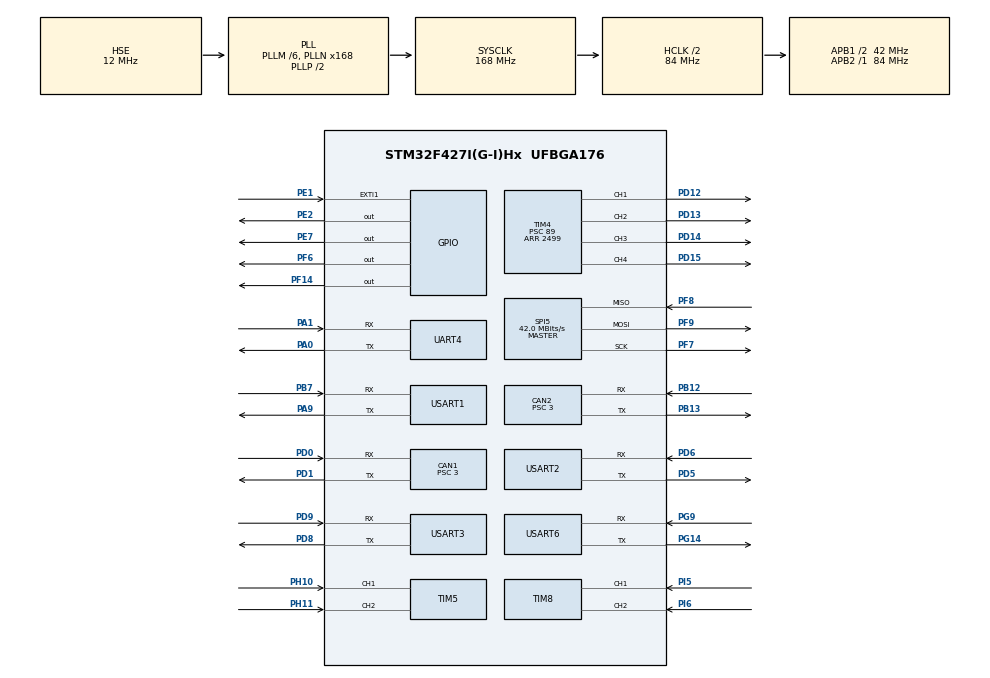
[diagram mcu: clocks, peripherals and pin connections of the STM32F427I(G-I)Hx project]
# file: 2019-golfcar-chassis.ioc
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CAN1.ABOM=DISABLE
CAN1.AWUM=ENABLE
CAN1.BS1=CAN_BS1_9TQ
CAN1.BS2=CAN_BS2_4TQ
CAN1.CalculateTimeQuantum=71.42857142857143
CAN1.Mode=CAN_MODE_NORMAL
CAN1.Prescaler=3
CAN1.TTCM=ENABLE
CAN1.TXFP=ENABLE
CAN2.ABOM=DISABLE
CAN2.AWUM=ENABLE
CAN2.BS1=CAN_BS1_9TQ
CAN2.BS2=CAN_BS2_4TQ
CAN2.CalculateTimeQuantum=71.42857142857143
CAN2.Mode=CAN_MODE_NORMAL
CAN2.Prescaler=3
CAN2.SJW=CAN_SJW_1TQ
CAN2.TTCM=ENABLE
CAN2.TXFP=ENABLE
Dma.Request0=USART2_RX
Dma.Request1=USART2_TX
Dma.Request2=USART1_TX
Dma.Request3=USART6_RX
Dma.Request4=USART6_TX
Dma.Request5=UART4_RX
Dma.Request6=UART4_TX
Dma.UART4_RX.5.Direction=DMA_PERIPH_TO_MEMORY
Dma.UART4_RX.5.FIFOMode=DMA_FIFOMODE_DISABLE
Dma.UART4_RX.5.Instance=DMA1_Stream2
Dma.UART4_RX.5.MemDataAlignment=DMA_MDATAALIGN_BYTE
Dma.UART4_RX.5.MemInc=DMA_MINC_ENABLE
Dma.UART4_RX.5.Mode=DMA_NORMAL
Dma.UART4_RX.5.PeriphDataAlignment=DMA_PDATAALIGN_BYTE
Dma.UART4_RX.5.PeriphInc=DMA_PINC_DISABLE
Dma.UART4_RX.5.Priority=DMA_PRIORITY_LOW
Dma.UART4_TX.6.Direction=DMA_MEMORY_TO_PERIPH
Dma.UART4_TX.6.FIFOMode=DMA_FIFOMODE_DISABLE
Dma.UART4_TX.6.Instance=DMA1_Stream4
Dma.UART4_TX.6.MemDataAlignment=DMA_MDATAALIGN_BYTE
Dma.UART4_TX.6.MemInc=DMA_MINC_ENABLE
Dma.UART4_TX.6.Mode=DMA_NORMAL
Dma.UART4_TX.6.PeriphDataAlignment=DMA_PDATAALIGN_BYTE
Dma.UART4_TX.6.PeriphInc=DMA_PINC_DISABLE
Dma.UART4_TX.6.Priority=DMA_PRIORITY_LOW
Dma.USART1_TX.2.Direction=DMA_MEMORY_TO_PERIPH
Dma.USART1_TX.2.FIFOMode=DMA_FIFOMODE_DISABLE
Dma.USART1_TX.2.Instance=DMA2_Stream7
Dma.USART1_TX.2.MemDataAlignment=DMA_MDATAALIGN_BYTE
Dma.USART1_TX.2.MemInc=DMA_MINC_ENABLE
Dma.USART1_TX.2.Mode=DMA_NORMAL
Dma.USART1_TX.2.PeriphDataAlignment=DMA_PDATAALIGN_BYTE
Dma.USART1_TX.2.PeriphInc=DMA_PINC_DISABLE
Dma.USART1_TX.2.Priority=DMA_PRIORITY_LOW
Dma.USART2_RX.0.Direction=DMA_PERIPH_TO_MEMORY
Dma.USART2_RX.0.FIFOMode=DMA_FIFOMODE_DISABLE
Dma.USART2_RX.0.Instance=DMA1_Stream5
Dma.USART2_RX.0.MemDataAlignment=DMA_MDATAALIGN_BYTE
Dma.USART2_RX.0.MemInc=DMA_MINC_ENABLE
Dma.USART2_RX.0.Mode=DMA_NORMAL
Dma.USART2_RX.0.PeriphDataAlignment=DMA_PDATAALIGN_BYTE
Dma.USART2_RX.0.PeriphInc=DMA_PINC_DISABLE
Dma.USART2_RX.0.Priority=DMA_PRIORITY_HIGH
Dma.USART2_TX.1.Direction=DMA_MEMORY_TO_PERIPH
Dma.USART2_TX.1.FIFOMode=DMA_FIFOMODE_DISABLE
Dma.USART2_TX.1.Instance=DMA1_Stream6
Dma.USART2_TX.1.MemDataAlignment=DMA_MDATAALIGN_BYTE
Dma.USART2_TX.1.MemInc=DMA_MINC_ENABLE
Dma.USART2_TX.1.Mode=DMA_NORMAL
Dma.USART2_TX.1.PeriphDataAlignment=DMA_PDATAALIGN_BYTE
Dma.USART2_TX.1.PeriphInc=DMA_PINC_DISABLE
Dma.USART2_TX.1.Priority=DMA_PRIORITY_HIGH
Dma.USART6_RX.3.Direction=DMA_PERIPH_TO_MEMORY
Dma.USART6_RX.3.FIFOMode=DMA_FIFOMODE_DISABLE
Dma.USART6_RX.3.Instance=DMA2_Stream1
Dma.USART6_RX.3.MemDataAlignment=DMA_MDATAALIGN_BYTE
Dma.USART6_RX.3.MemInc=DMA_MINC_ENABLE
Dma.USART6_RX.3.Mode=DMA_NORMAL
Dma.USART6_RX.3.PeriphDataAlignment=DMA_PDATAALIGN_BYTE
Dma.USART6_RX.3.PeriphInc=DMA_PINC_DISABLE
Dma.USART6_RX.3.Priority=DMA_PRIORITY_LOW
Dma.USART6_TX.4.Direction=DMA_MEMORY_TO_PERIPH
Dma.USART6_TX.4.FIFOMode=DMA_FIFOMODE_DISABLE
Dma.USART6_TX.4.Instance=DMA2_Stream6
Dma.USART6_TX.4.MemDataAlignment=DMA_MDATAALIGN_BYTE
Dma.USART6_TX.4.MemInc=DMA_MINC_ENABLE
Dma.USART6_TX.4.Mode=DMA_NORMAL
Dma.USART6_TX.4.PeriphDataAlignment=DMA_PDATAALIGN_BYTE
Dma.USART6_TX.4.PeriphInc=DMA_PINC_DISABLE
Dma.USART6_TX.4.Priority=DMA_PRIORITY_LOW
FREERTOS.Tasks01=defaultTask,0,128,StartDefaultTask,Default,NULL,Dynamic,NULL,NULL;myTask02,3,256,StartTask02,As weak,NULL,Dynamic,NULL,NULL;myTask03,2,256,StartTask03,As weak,NULL,Dynamic,NULL,NULL;myTask04,1,256,StartTask04,As weak,NULL,Dynamic,NULL,NULL;myTask05,0,256,StartTask05,As weak,NULL,Dynamic,NULL,NULL;myTask06,-1,256,StartTask06,As weak,NULL,Dynamic,NULL,NULL;myTask07,-2,256,StartTask07,As weak,NULL,Dynamic,NULL,NULL
Mcu.Family=STM32F4
Mcu.Name=STM32F427I(G-I)Hx
Mcu.Package=UFBGA176
NVIC.CAN1_RX0_IRQn=true\:6\:0\:true\:false\:true\:true\:true\:true
NVIC.CAN1_TX_IRQn=true\:6\:0\:true\:false\:true\:true\:true\:true
NVIC.CAN2_RX0_IRQn=true\:7\:0\:true\:false\:true\:true\:true\:true
NVIC.CAN2_TX_IRQn=true\:7\:0\:true\:false\:true\:true\:true\:true
NVIC.DMA1_Stream2_IRQn=true\:5\:0\:false\:false\:true\:true\:false\:true
NVIC.DMA1_Stream4_IRQn=true\:5\:0\:false\:false\:true\:true\:false\:true
NVIC.DMA1_Stream5_IRQn=true\:5\:0\:false\:false\:true\:true\:false\:true
NVIC.DMA1_Stream6_IRQn=true\:5\:0\:false\:false\:true\:true\:false\:true
NVIC.DMA2_Stream1_IRQn=true\:5\:0\:false\:false\:true\:true\:false\:true
NVIC.DMA2_Stream6_IRQn=true\:5\:0\:false\:false\:true\:true\:false\:true
NVIC.DMA2_Stream7_IRQn=true\:6\:0\:true\:false\:true\:true\:false\:true
NVIC.PriorityGroup=NVIC_PRIORITYGROUP_4
NVIC.TIM4_IRQn=true\:6\:0\:true\:false\:true\:true\:true\:true
NVIC.TIM5_IRQn=true\:5\:0\:false\:false\:true\:true\:true\:true
NVIC.TIM8_BRK_TIM12_IRQn=true\:5\:0\:false\:false\:true\:true\:true\:true
NVIC.TIM8_CC_IRQn=true\:5\:0\:false\:false\:true\:true\:true\:true
NVIC.TIM8_TRG_COM_TIM14_IRQn=true\:5\:0\:false\:false\:true\:true\:true\:true
NVIC.TIM8_UP_TIM13_IRQn=true\:5\:0\:false\:false\:true\:true\:true\:true
NVIC.UART4_IRQn=true\:5\:0\:false\:false\:true\:true\:true\:true
NVIC.USART1_IRQn=true\:6\:0\:true\:false\:true\:true\:true\:true
NVIC.USART2_IRQn=true\:6\:0\:true\:false\:true\:true\:true\:true
NVIC.USART3_IRQn=true\:5\:0\:false\:false\:true\:true\:true\:true
NVIC.USART6_IRQn=true\:6\:0\:true\:false\:true\:true\:true\:true
PA0/WKUP.Mode=Asynchronous
PA0/WKUP.Signal=UART4_TX
PA1.Mode=Asynchronous
PA1.Signal=UART4_RX
PA13.Mode=Serial_Wire
PA13.Signal=SYS_JTMS-SWDIO
PA14.Mode=Serial_Wire
PA14.Signal=SYS_JTCK-SWCLK
PA9.Mode=Asynchronous
PA9.Signal=USART1_TX
PB12.Mode=Slave
PB12.Signal=CAN2_RX
PB13.Mode=Slave
PB13.Signal=CAN2_TX
PB7.Mode=Asynchronous
PB7.Signal=USART1_RX
PD0.Mode=Master
PD0.Signal=CAN1_RX
PD1.Mode=Master
PD1.Signal=CAN1_TX
PD12.Signal=S_TIM4_CH1
PD13.Signal=S_TIM4_CH2
PD14.Signal=S_TIM4_CH3
PD15.Signal=S_TIM4_CH4
PD5.Mode=Asynchronous
PD5.Signal=USART2_TX
PD6.Mode=Asynchronous
PD6.Signal=USART2_RX
PD8.Mode=Asynchronous
PD8.Signal=USART3_TX
PD9.Mode=Asynchronous
PD9.Signal=USART3_RX
PE1.Signal=GPXTI1
PE2.Signal=GPIO_Output
PE7.GPIO_ModeDefaultOutputPP=GPIO_MODE_OUTPUT_PP
PE7.Signal=GPIO_Output
PF14.Signal=GPIO_Output
PF6.Signal=GPIO_Output
PF7.Mode=Full_Duplex_Master
PF7.Signal=SPI5_SCK
PF8.Mode=Full_Duplex_Master
PF8.Signal=SPI5_MISO
PF9.Mode=Full_Duplex_Master
PF9.Signal=SPI5_MOSI
PG14.Mode=Asynchronous
PG14.Signal=USART6_TX
PG9.Mode=Asynchronous
PG9.Signal=USART6_RX
PH0/OSC_IN.Mode=HSE-External-Oscillator
PH0/OSC_IN.Signal=RCC_OSC_IN
PH1/OSC_OUT.Mode=HSE-External-Oscillator
PH1/OSC_OUT.Signal=RCC_OSC_OUT
PH10.Signal=S_TIM5_CH1
PH11.Signal=S_TIM5_CH2
PI5.Signal=S_TIM8_CH1
PI6.Signal=S_TIM8_CH2
ProjectManager.HeapSize=0x200
ProjectManager.StackSize=0x400
ProjectManager.TargetToolchain=MDK-ARM V5
RCC.48MHZClocksFreq_Value=84000000
RCC.AHBCLKDivider=RCC_SYSCLK_DIV2
RCC.AHBFreq_Value=84000000
RCC.APB1CLKDivider=RCC_HCLK_DIV2
RCC.APB1Freq_Value=42000000
RCC.APB1TimFreq_Value=84000000
RCC.APB2Freq_Value=84000000
RCC.APB2TimFreq_Value=84000000
RCC.CortexFreq_Value=84000000
RCC.HCLKFreq_Value=84000000
RCC.HSE_VALUE=12000000
RCC.HSI_VALUE=16000000
RCC.LSE_VALUE=32768
RCC.PLLM=6
RCC.PLLN=168
RCC.PLLSourceVirtual=RCC_PLLSOURCE_HSE
RCC.SYSCLKFreq_VALUE=168000000
RCC.SYSCLKSource=RCC_SYSCLKSOURCE_PLLCLK
RCC.VCOOutputFreq_Value=336000000
SH.S_TIM4_CH1.0=TIM4_CH1,PWM Generation1 CH1
SH.S_TIM4_CH2.0=TIM4_CH2,PWM Generation2 CH2
SH.S_TIM4_CH3.0=TIM4_CH3,PWM Generation3 CH3
SH.S_TIM4_CH4.0=TIM4_CH4,PWM Generation4 CH4
SH.S_TIM5_CH1.0=TIM5_CH1,Encoder_Interface
SH.S_TIM5_CH2.0=TIM5_CH2,Encoder_Interface
SH.S_TIM8_CH1.0=TIM8_CH1,Encoder_Interface
SH.S_TIM8_CH2.0=TIM8_CH2,Encoder_Interface
SPI5.CalculateBaudRate=42.0 MBits/s
SPI5.Direction=SPI_DIRECTION_2LINES
SPI5.Mode=SPI_MODE_MASTER
SPI5.VirtualType=VM_MASTER
TIM4.Channel-PWM\ Generation1\ CH1=TIM_CHANNEL_1
TIM4.Channel-PWM\ Generation2\ CH2=TIM_CHANNEL_2
TIM4.Channel-PWM\ Generation3\ CH3=TIM_CHANNEL_3
TIM4.Channel-PWM\ Generation4\ CH4=TIM_CHANNEL_4
TIM4.Period=2499
TIM4.Prescaler=89
TIM4.Pulse-PWM\ Generation1\ CH1=1000
TIM4.Pulse-PWM\ Generation2\ CH2=1000
TIM4.Pulse-PWM\ Generation3\ CH3=1000
TIM4.Pulse-PWM\ Generation4\ CH4=1000
UART4.VirtualMode=Asynchronous
USART1.VirtualMode=VM_ASYNC
USART2.VirtualMode=VM_ASYNC
USART3.VirtualMode=VM_ASYNC
USART6.VirtualMode=VM_ASYNC
VP_FREERTOS_VS_CMSIS_V1.Mode=CMSIS_V1
VP_SYS_VS_tim6.Mode=TIM6
board=custom

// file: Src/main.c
/* USER CODE BEGIN Header */
/**
  ******************************************************************************
  * @file           : main.c
  * @brief          : Main program body
  ******************************************************************************
  * @attention
  *
  * <h2><center>&copy; Copyright (c) 2019 STMicroelectronics.
  * All rights reserved.</center></h2>
  *
  * This software component is licensed by ST under Ultimate Liberty license
  * SLA0044, the "License"; You may not use this file except in compliance with
  * the License. You may obtain a copy of the License at:
  *                             www.st.com/SLA0044
  *
  ******************************************************************************
  */
/* USER CODE END Header */

#include "main.h"
#include "cmsis_os.h"
#include "can.h"
#include "dma.h"
#include "spi.h"
#include "tim.h"
#include "usart.h"
#include "gpio.h"

/* USER CODE BEGIN Includes */
#include "drv_uart.h"
#include "drv_can.h"
#include "drv_io.h"
#include "drv_robotservo.h"
#include "drv_timer.h"
#include "drv_io.h"
#include "drv_imu.h"
/* USER CODE END Includes */

/* USER CODE BEGIN PTD */
extern DMA_HandleTypeDef hdma_usart2_rx;
extern DMA_HandleTypeDef hdma_usart6_rx;
extern DMA_HandleTypeDef hdma_uart4_rx;
/* USER CODE END PTD */

void SystemClock_Config(void);
void MX_FREERTOS_Init(void);

int main(void)
{

  /* MCU Configuration--------------------------------------------------------*/

  /* Reset of all peripherals, Initializes the Flash interface and the Systick. */
  HAL_Init();

  /* Configure the system clock */
  SystemClock_Config();

  /* Initialize all configured peripherals */
  MX_GPIO_Init();
  MX_DMA_Init();
  MX_CAN1_Init();
  MX_CAN2_Init();
  MX_TIM4_Init();
  MX_TIM5_Init();
  MX_TIM8_Init();
  MX_USART2_UART_Init();
  MX_USART3_UART_Init();
  MX_USART6_UART_Init();
  MX_USART1_UART_Init();
  MX_UART4_Init();
  MX_SPI5_Init();
  /* USER CODE BEGIN 2 */
	USART_Enable(&huart1,Usart1buff);
	USART_DMA_Enable(&huart2,&hdma_usart2_rx,Usart2buff,11);
	USART_Enable(&huart3,Usart3buff);
	USART_DMA_Enable(&huart4,&hdma_uart4_rx,Uart4buff,8);
	USART_DMA_Enable(&huart6,&hdma_usart6_rx,Usart6buff,28);
	CAN_Enable(&hcan1);
	CAN_Enable(&hcan2);
	PWM_Init(&htim4,TIM_CHANNEL_1);
	PWM_Init(&htim4,TIM_CHANNEL_2);
	mpu_device_init();
  /* USER CODE END 2 */

  /* Call init function for freertos objects (in freertos.c) */
  MX_FREERTOS_Init();

  /* Start scheduler */
  osKernelStart();

  /* We should never get here as control is now taken by the scheduler */

  /* Infinite loop */
  while (1)
  {

  }
}

void SystemClock_Config(void)
{
  RCC_OscInitTypeDef RCC_OscInitStruct = {0};
  RCC_ClkInitTypeDef RCC_ClkInitStruct = {0};

  /** Configure the main internal regulator output voltage
  */
  __HAL_RCC_PWR_CLK_ENABLE();
  __HAL_PWR_VOLTAGESCALING_CONFIG(PWR_REGULATOR_VOLTAGE_SCALE3);
  /** Initializes the CPU, AHB and APB busses clocks
  */
  RCC_OscInitStruct.OscillatorType = RCC_OSCILLATORTYPE_HSE;
  RCC_OscInitStruct.HSEState = RCC_HSE_ON;
  RCC_OscInitStruct.PLL.PLLState = RCC_PLL_ON;
  RCC_OscInitStruct.PLL.PLLSource = RCC_PLLSOURCE_HSE;
  RCC_OscInitStruct.PLL.PLLM = 6;
  RCC_OscInitStruct.PLL.PLLN = 168;
  RCC_OscInitStruct.PLL.PLLP = RCC_PLLP_DIV2;
  RCC_OscInitStruct.PLL.PLLQ = 4;
  if (HAL_RCC_OscConfig(&RCC_OscInitStruct) != HAL_OK)
  {
    Error_Handler();
  }
  /** Initializes the CPU, AHB and APB busses clocks
  */
  RCC_ClkInitStruct.ClockType = RCC_CLOCKTYPE_HCLK|RCC_CLOCKTYPE_SYSCLK
                              |RCC_CLOCKTYPE_PCLK1|RCC_CLOCKTYPE_PCLK2;
  RCC_ClkInitStruct.SYSCLKSource = RCC_SYSCLKSOURCE_PLLCLK;
  RCC_ClkInitStruct.AHBCLKDivider = RCC_SYSCLK_DIV2;
  RCC_ClkInitStruct.APB1CLKDivider = RCC_HCLK_DIV2;
  RCC_ClkInitStruct.APB2CLKDivider = RCC_HCLK_DIV1;

  if (HAL_RCC_ClockConfig(&RCC_ClkInitStruct, FLASH_LATENCY_2) != HAL_OK)
  {
    Error_Handler();
  }
}

void HAL_TIM_PeriodElapsedCallback(TIM_HandleTypeDef *htim)
{
  if (htim->Instance == TIM6) {
    HAL_IncTick();
  }
}

void Error_Handler(void)
{
}

/************************ (C) COPYRIGHT STMicroelectronics *****END OF FILE****/

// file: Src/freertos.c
/* USER CODE BEGIN Header */
/**
  ******************************************************************************
  * File Name          : freertos.c
  * Description        : Code for freertos applications
  ******************************************************************************
  * @attention
  *
  * <h2><center>&copy; Copyright (c) 2019 STMicroelectronics.
  * All rights reserved.</center></h2>
  *
  * This software component is licensed by ST under Ultimate Liberty license
  * SLA0044, the "License"; You may not use this file except in compliance with
  * the License. You may obtain a copy of the License at:
  *                             www.st.com/SLA0044
  *
  ******************************************************************************
  */
/* USER CODE END Header */

#include "FreeRTOS.h"
#include "task.h"
#include "main.h"
#include "cmsis_os.h"

osThreadId defaultTaskHandle;
osThreadId myTask02Handle;
osThreadId myTask03Handle;
osThreadId myTask04Handle;
osThreadId myTask05Handle;
osThreadId myTask06Handle;
osThreadId myTask07Handle;

void StartDefaultTask(void const * argument);
void StartTask02(void const * argument);
void StartTask03(void const * argument);
void StartTask04(void const * argument);
void StartTask05(void const * argument);
void StartTask06(void const * argument);
void StartTask07(void const * argument);

void MX_FREERTOS_Init(void); /* (MISRA C 2004 rule 8.1) */

void MX_FREERTOS_Init(void) {

  /* Create the thread(s) */
  /* definition and creation of defaultTask */
  osThreadDef(defaultTask, StartDefaultTask, osPriorityNormal, 0, 128);
  defaultTaskHandle = osThreadCreate(osThread(defaultTask), NULL);

  /* definition and creation of myTask02 */
  osThreadDef(myTask02, StartTask02, osPriorityRealtime, 0, 256);
  myTask02Handle = osThreadCreate(osThread(myTask02), NULL);

  /* definition and creation of myTask03 */
  osThreadDef(myTask03, StartTask03, osPriorityHigh, 0, 256);
  myTask03Handle = osThreadCreate(osThread(myTask03), NULL);

  /* definition and creation of myTask04 */
  osThreadDef(myTask04, StartTask04, osPriorityAboveNormal, 0, 256);
  myTask04Handle = osThreadCreate(osThread(myTask04), NULL);

  /* definition and creation of myTask05 */
  osThreadDef(myTask05, StartTask05, osPriorityNormal, 0, 256);
  myTask05Handle = osThreadCreate(osThread(myTask05), NULL);

  /* definition and creation of myTask06 */
  osThreadDef(myTask06, StartTask06, osPriorityBelowNormal, 0, 256);
  myTask06Handle = osThreadCreate(osThread(myTask06), NULL);

  /* definition and creation of myTask07 */
  osThreadDef(myTask07, StartTask07, osPriorityLow, 0, 256);
  myTask07Handle = osThreadCreate(osThread(myTask07), NULL);

}

void StartDefaultTask(void const * argument)
{

  for(;;)
  {
    osDelay(1);
  }
}

__weak void StartTask02(void const * argument)
{
  for(;;)
  {
    osDelay(1);
  }
}

__weak void StartTask03(void const * argument)
{
  for(;;)
  {
    osDelay(1);
  }
}

__weak void StartTask04(void const * argument)
{
  for(;;)
  {
    osDelay(1);
  }
}

__weak void StartTask05(void const * argument)
{
  for(;;)
  {
    osDelay(1);
  }
}

__weak void StartTask06(void const * argument)
{
  for(;;)
  {
    osDelay(1);
  }
}

__weak void StartTask07(void const * argument)
{
  for(;;)
  {
    osDelay(1);
  }
}

/************************ (C) COPYRIGHT STMicroelectronics *****END OF FILE****/
